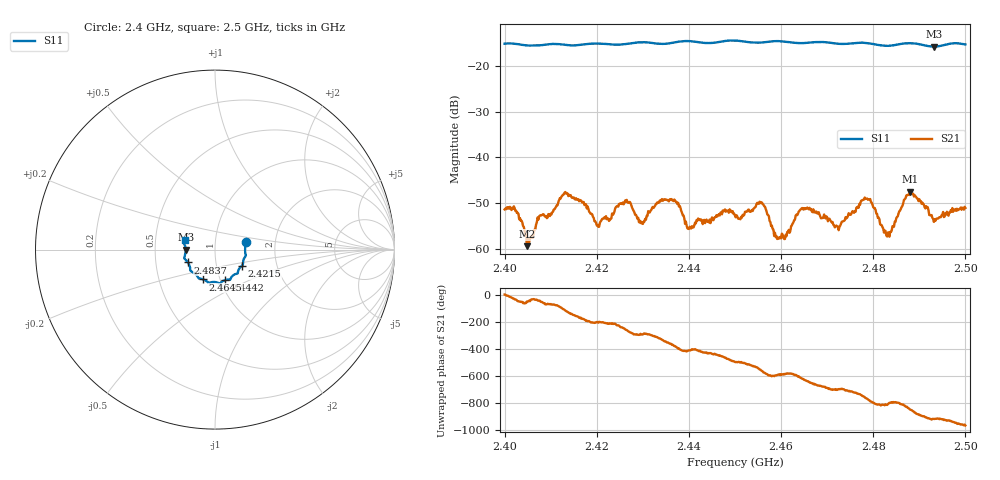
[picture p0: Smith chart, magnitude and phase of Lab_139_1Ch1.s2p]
# Hz S RI R 50
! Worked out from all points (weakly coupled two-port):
!   601 points, 2.4 GHz to 2.5 GHz, reference 50 ohm
!   highest |S21| = -47.51 dB at 2.488 GHz (marker M1); lowest = -59.4 dB at 2.4048 GHz (marker M2)
!   lowest |S11| = -15.7 dB at 2.4932 GHz (marker M3), VSWR 1.39, Z = 35.9 - j0.0517 ohm
!   |S11| at or under -10 dB: start of sweep to end of sweep
!   S12 and S22 are empty: the file has one direction only
!   S11 on the Smith chart (normalised r, x): 2.4 GHz: 1.41, +0.12; 2.4215 GHz: 1.33, -0.25; 2.4442 GHz: 1.05, -0.37; 2.4645 GHz: 0.83, -0.29; 2.4837 GHz: 0.73, -0.11; 2.5 GHz: 0.71, +0.07
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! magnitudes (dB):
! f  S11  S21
! 2.4 GHz  -15.1  -51.4
! 2.4048 GHz  -15.5  -59.4
! 2.413 GHz  -15.3  -47.7
! 2.4167 GHz  -15.3  -49.5
! 2.4215 GHz  -15.1  -53.4
! 2.4267 GHz  -15.1  -49.8
! 2.4298 GHz  -14.8  -54.5
! 2.4333 GHz  -15.1  -49.9
! 2.44 GHz  -14.5  -55.7
! 2.4442 GHz  -15.0  -53.9
! 2.45 GHz  -14.4  -52.7
! 2.4558 GHz  -14.8  -49.9
! 2.4595 GHz  -14.5  -57.5
! 2.4645 GHz  -15.0  -51.1
! 2.4667 GHz  -14.8  -51.8
! 2.4722 GHz  -15.1  -55.1
! 2.4788 GHz  -15.0  -49.3
! 2.4833 GHz  -15.6  -56.4
! 2.4837 GHz  -15.5  -56.3
! 2.488 GHz  -15.0  -47.5
! 2.4932 GHz  -15.7  -54.1
! 2.5 GHz  -15.3  -51.1
